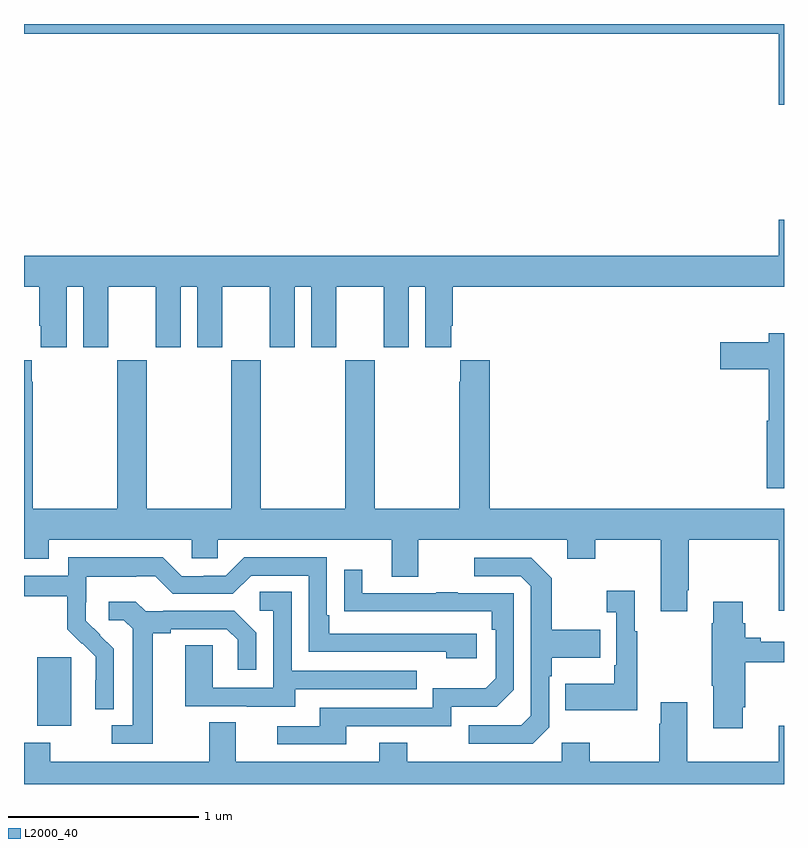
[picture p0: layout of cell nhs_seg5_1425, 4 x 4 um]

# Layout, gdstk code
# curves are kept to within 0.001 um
import gdstk
lib = gdstk.Library(unit=1e-6, precision=1e-09)
def R(c, l, rs):  # rectangles x0, y0, x1, y1
    for r in rs: c.add(gdstk.rectangle(r[:2], r[2:], *l))
def P(c, l, *ps):  # polygons
    for p in ps: c.add(gdstk.Polygon(p, *l))
L2000_40 = (2000, 40)

nhs_seg5_1425 = lib.new_cell('nhs_seg5_1425')
R(nhs_seg5_1425, L2000_40, [(197.069,865.106,197.248,865.467)])
P(nhs_seg5_1425, L2000_40, [(201,868.799),(197,868.799),(197,868.748),(200.972,868.748),(200.972,868.374),(201,868.374)],
  [(197,867.416),(197.081,867.416),(197.081,867.211),(197.087,867.211),(197.087,867.099),(197.224,867.099),(197.224,867.416),(197.312,867.416),(197.312,867.099),(197.443,867.099),(197.443,867.416),(197.693,867.416),(197.693,867.099),(197.824,867.099),(197.824,867.416),(197.912,867.416),(197.912,867.099),(198.043,867.099),(198.043,867.416),(198.293,867.416),(198.293,867.099),(198.424,867.099),(198.424,867.416),(198.512,867.416),(198.512,867.099),(198.643,867.099),(198.643,867.416),(198.893,867.416),(198.893,867.099),(199.024,867.099),(199.024,867.416),(199.112,867.416),(199.112,867.099),(199.249,867.099),(199.249,867.211),(199.256,867.211),(199.256,867.416),(201,867.416),(201,867.769),(200.972,867.769),(200.972,867.58),(197,867.58)],
  [(201,867.172),(200.921,867.172),(200.921,867.123),(200.664,867.123),(200.664,866.981),(200.921,866.981),(200.921,866.71),(200.909,866.71),(200.909,866.355),(201,866.355)],
  [(200.491,865.819),(200.499,865.819),(200.499,866.084),(200.972,866.084),(200.972,865.71),(201,865.71),(201,866.248),(199.451,866.248),(199.451,867.028),(199.295,867.028),(199.295,866.915),(199.291,866.915),(199.291,866.248),(198.846,866.248),(198.846,867.028),(198.691,867.028),(198.691,866.248),(198.246,866.248),(198.246,867.028),(198.091,867.028),(198.091,866.248),(197.646,866.248),(197.646,867.028),(197.491,867.028),(197.491,866.248),(197.046,866.248),(197.046,866.915),(197.041,866.915),(197.041,867.028),(197,867.028),(197,865.985),(197.131,865.985),(197.131,866.084),(197.883,866.084),(197.883,865.986),(198.021,865.986),(198.021,866.084),(198.935,866.084),(198.935,865.89),(199.075,865.89),(199.075,866.084),(199.859,866.084),(199.859,865.985),(200.007,865.985),(200.007,866.084),(200.351,866.084),(200.351,865.707),(200.491,865.707)],
  [(197.472,865.51),(197.326,865.658),(197.326,865.755),(197.328,865.755),(197.328,865.889),(197.591,865.889),(197.591,865.893),(197.691,865.893),(197.784,865.8),(198.099,865.8),(198.195,865.896),(198.498,865.896),(198.498,865.494),(199.223,865.494),(199.223,865.46),(199.384,865.46),(199.384,865.59),(198.607,865.59),(198.607,865.687),(198.594,865.687),(198.594,865.992),(198.159,865.992),(198.063,865.896),(197.945,865.896),(197.945,865.893),(197.829,865.893),(197.729,865.993),(197.232,865.993),(197.232,865.896),(197,865.896),(197,865.788),(197.227,865.788),(197.227,865.613),(197.304,865.536),(197.307,865.539),(197.378,865.469),(197.378,865.346),(197.376,865.346),(197.376,865.192),(197.472,865.192)],
  [(199.764,865.098),(199.764,865.367),(199.777,865.367),(199.777,865.463),(200.033,865.463),(200.033,865.611),(199.777,865.611),(199.777,865.883),(199.671,865.989),(199.371,865.989),(199.371,865.893),(199.614,865.893),(199.668,865.839),(199.668,865.158),(199.617,865.107),(199.341,865.107),(199.341,865.011),(199.677,865.011)],
  [(198.697,865.104),(199.248,865.104),(199.248,865.206),(199.488,865.206),(199.578,865.296),(199.578,865.803),(199.283,865.803),(199.283,865.808),(199.171,865.808),(199.171,865.803),(198.781,865.803),(198.781,865.927),(198.685,865.927),(198.685,865.708),(199.462,865.707),(199.462,865.61),(199.482,865.61),(199.482,865.356),(199.429,865.303),(199.152,865.303),(199.152,865.2),(198.557,865.2),(198.557,865.104),(198.333,865.104),(198.333,865.008),(198.697,865.008)],
  [(200.227,865.603),(200.215,865.603),(200.215,865.816),(200.067,865.816),(200.067,865.703),(200.118,865.703),(200.118,865.423),(200.106,865.423),(200.106,865.327),(199.849,865.327),(199.849,865.187),(200.227,865.187)],
  [(198.427,865.299),(199.067,865.299),(199.067,865.395),(198.408,865.395),(198.408,865.811),(198.24,865.811),(198.24,865.71),(198.312,865.71),(198.312,865.305),(197.994,865.305),(197.994,865.529),(197.849,865.529),(197.849,865.209),(198.173,865.209),(198.173,865.205),(198.427,865.205)],
  [(197.677,865.592),(197.773,865.592),(197.773,865.614),(198.068,865.614),(198.125,865.557),(198.125,865.401),(198.222,865.401),(198.222,865.594),(198.106,865.71),(197.734,865.71),(197.734,865.707),(197.64,865.707),(197.588,865.759),(197.445,865.759),(197.445,865.662),(197.526,865.662),(197.573,865.615),(197.573,865.107),(197.463,865.107),(197.463,865.011),(197.677,865.011)],
  [(200.782,865.204),(200.795,865.204),(200.795,865.44),(201,865.44),(201,865.549),(200.878,865.549),(200.878,865.568),(200.795,865.568),(200.795,865.646),(200.782,865.646),(200.782,865.759),(200.627,865.759),(200.627,865.646),(200.62,865.646),(200.62,865.315),(200.627,865.315),(200.627,865.092),(200.782,865.092)],
  [(201,865.105),(200.972,865.105),(200.972,864.916),(200.491,864.916),(200.491,865.228),(200.351,865.228),(200.351,865.115),(200.344,865.115),(200.344,864.916),(199.977,864.916),(199.977,865.015),(199.83,865.015),(199.83,864.916),(199.017,864.916),(199.017,865.015),(198.869,865.015),(198.869,864.916),(198.115,864.916),(198.115,865.124),(197.975,865.124),(197.975,864.916),(197.139,864.916),(197.139,865.015),(197,865.015),(197,864.799),(201,864.799)])

lib.write_gds('nhs_seg5_1425.gds')
